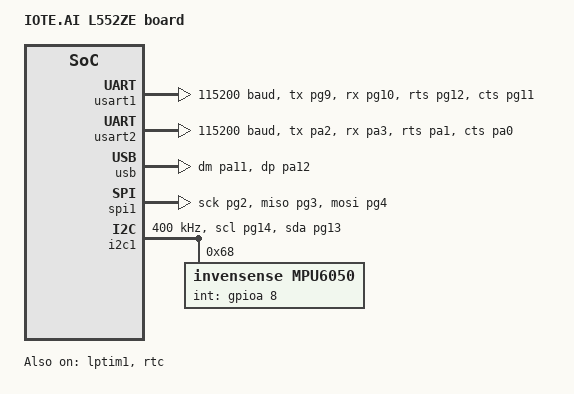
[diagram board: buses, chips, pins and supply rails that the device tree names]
/*
 * Copyright (c) 2020 Petri Oksanen
 *
 * SPDX-License-Identifier: Apache-2.0
 */

 /dts-v1/;
 #include "iote_ai_l552ze-common.dtsi"
 
 / {
     model = "IOTE.AI L552ZE board";
     compatible = "iote_ai,iote-ai-l552ze";
 
     #address-cells = <1>;
     #size-cells = <1>;
 
     chosen {
         zephyr,console = &usart3;
         zephyr,shell-uart = &usart3;
         zephyr,sram = &sram0;
         zephyr,flash = &flash0;
     };
 
     aliases {
        led0 = &green_led_1;
        led1 = &blue_led_1;
        led2 = &red_led_1;
        sw0 = &user_button;
     };
 };
 
 &cpu0 {
	cpu-power-states = <&stop0 &stop1 &stop2>;
};
 
&lptim1 {
	status = "okay";
};

&usart1 {
    hw-flow-control;
    pinctrl-0 = <&usart1_tx_pg9
                 &usart1_rx_pg10
                 &usart1_rts_pg12
                 &usart1_cts_pg11>;
    current-speed = <115200>;
    status = "okay";
};

&usart2 {
    hw-flow-control;
    pinctrl-0 = <&usart2_tx_pa2
                 &usart2_rx_pa3
                 &usart2_rts_pa1
                 &usart2_cts_pa0>;
    current-speed = <115200>;
    status = "okay";
};

&usb {
	status = "okay";
	pinctrl-0 = <&usb_dm_pa11 &usb_dp_pa12>;
};

&can1 {
	pinctrl-0 = <&can1_rx_pd0 &can1_tx_pd1>;
	bus-speed = <125000>;
	sjw = <1>;
	prop-seg = <0>;
	phase-seg1 = <6>;
	phase-seg2 = <5>;
	status = "disabled";
};

&spi1 {
	pinctrl-0 = <&spi1_sck_pg2 &spi1_miso_pg3 &spi1_mosi_pg4>;
	status = "okay";
	cs-gpios = <&gpiog 5 GPIO_ACTIVE_LOW>;
};

&i2c1 {
	pinctrl-0 = <&i2c1_scl_pg14 &i2c1_sda_pg13>;
	status = "okay";
	clock-frequency = <I2C_BITRATE_FAST>;

	mpu6050@68 {
		compatible = "invensense,mpu6050";
		reg = <0x68>;
		status = "okay";
		label = "MPU6050";
		int-gpios = <&gpioa 8 GPIO_ACTIVE_HIGH>;
/*		irq-gpios = <&gpioa 8 GPIO_ACTIVE_HIGH>; */
	};
};

&rtc {
	status = "okay";
};
